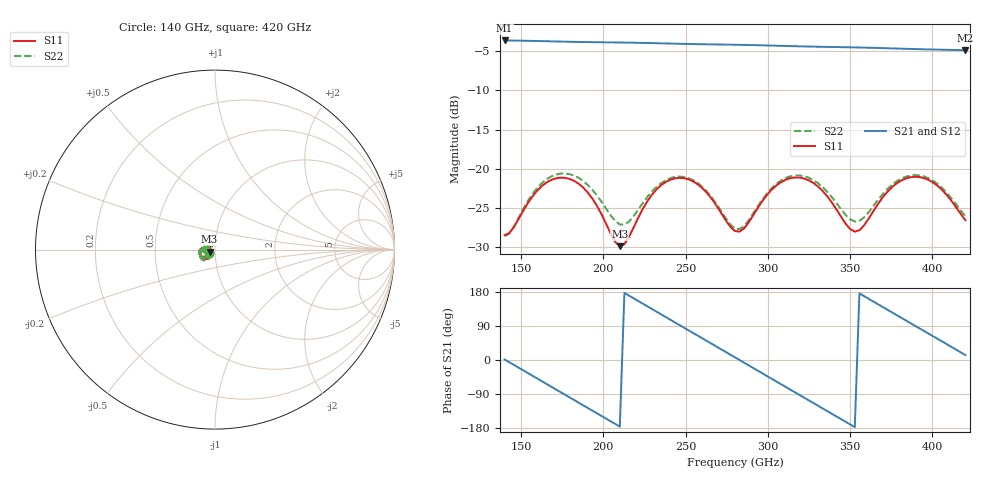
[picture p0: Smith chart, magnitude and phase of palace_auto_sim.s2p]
#  GHZ S DB R 50
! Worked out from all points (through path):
!   101 points, 140 GHz to 420 GHz, reference 50 ohm
!   highest |S21| = -3.66 dB at 140 GHz (marker M1); lowest = -4.9 dB at 420 GHz (marker M2)
!   group delay of S21, straight-line fit = 7.03 ps
!   lowest |S11| = -29.9 dB at 210 GHz (marker M3), VSWR 1.07, Z = 47.1 - j1.08 ohm
!   |S11| at or under -10 dB: start of sweep to end of sweep
!   |S22| runs from -28.6 to -20.6 dB; largest |S21 - S12| = 1.3e-13
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140  -28.44 -150.6  -3.66 1.4  -3.66 1.4  -28.59 -146.8
151.2  -25.38 -127.9  -3.69 -27.0  -3.69 -27.0  -25.17 -123.0
165.2  -21.79 -139.8  -3.75 -62.5  -3.75 -62.5  -21.38 -134.7
176.4  -21.14 -157.5  -3.81 -90.9  -3.81 -90.9  -20.59 -151.8
187.6  -22.36 -174.8  -3.86 -119.2  -3.86 -119.2  -21.53 -167.9
198.8  -25.76 176.2  -3.89 -147.4  -3.89 -147.4  -24.18 -176.0
210  -29.86 -159.1  -3.92 -175.8  -3.92 -175.8  -27.09 -161.1
221.2  -26.23 -130.0  -3.96 155.7  -3.96 155.7  -25.20 -139.2
235.2  -22.08 -140.6  -4.02 120.2  -4.02 120.2  -21.81 -145.3
254.8  -21.63 -169.9  -4.12 70.7  -4.12 70.7  -21.48 -171.4
268.8  -24.71 177.9  -4.17 35.3  -4.17 35.3  -24.49 177.8
280  -27.93 -166.2  -4.20 6.9  -4.20 6.9  -27.62 -166.2
291.2  -25.87 -141.0  -4.25 -21.5  -4.25 -21.5  -25.64 -141.1
305.2  -22.11 -146.9  -4.33 -57.0  -4.33 -57.0  -21.91 -145.9
316.4  -21.11 -161.9  -4.39 -85.3  -4.39 -85.3  -20.86 -160.0
327.6  -21.81 -177.3  -4.45 -113.5  -4.45 -113.5  -21.43 -174.4
341.6  -25.16 173.6  -4.50 -148.8  -4.50 -148.8  -24.36 177.3
352.8  -28.00 -166.2  -4.54 -177.2  -4.54 -177.2  -26.72 -166.5
375.2  -22.38 -148.3  -4.67 126.1  -4.67 126.1  -22.08 -150.4
386.4  -21.08 -162.2  -4.74 97.9  -4.74 97.9  -20.87 -162.9
397.6  -21.42 -177.4  -4.80 69.7  -4.80 69.7  -21.20 -177.1
420  -26.55 176.2  -4.90 13.2  -4.90 13.2  -26.06 177.5
